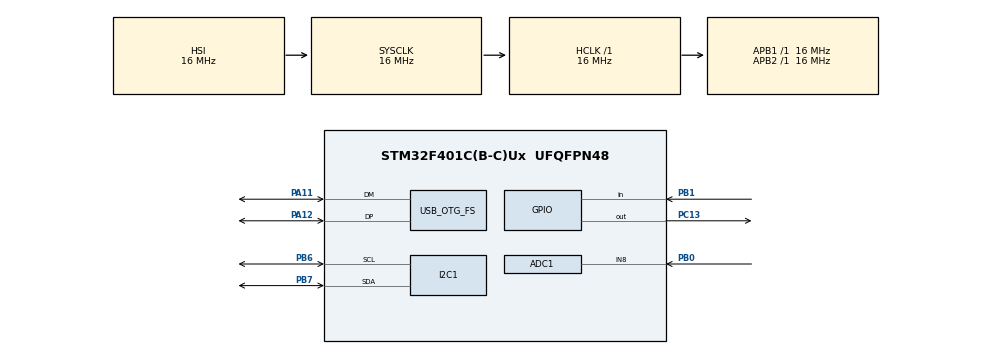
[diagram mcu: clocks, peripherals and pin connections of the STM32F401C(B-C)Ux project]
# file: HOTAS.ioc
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ADC1.Channel-17\#ChannelRegularConversion=ADC_CHANNEL_8
ADC1.NbrOfConversionFlag=1
ADC1.Rank-17\#ChannelRegularConversion=1
ADC1.SamplingTime-17\#ChannelRegularConversion=ADC_SAMPLETIME_3CYCLES
ADC1.master=1
Mcu.Family=STM32F4
Mcu.Name=STM32F401C(B-C)Ux
Mcu.Package=UFQFPN48
NVIC.OTG_FS_IRQn=true\:0\:0\:false\:false\:true\:false\:true\:true
NVIC.PriorityGroup=NVIC_PRIORITYGROUP_4
PA11.Mode=Device_Only
PA11.Signal=USB_OTG_FS_DM
PA12.Mode=Device_Only
PA12.Signal=USB_OTG_FS_DP
PB0.Signal=ADCx_IN8
PB1.GPIO_PuPd=GPIO_PULLUP
PB1.Signal=GPIO_Input
PB6.GPIO_Pu=GPIO_NOPULL
PB6.Mode=I2C
PB6.Signal=I2C1_SCL
PB7.Mode=I2C
PB7.Signal=I2C1_SDA
PC13-ANTI_TAMP.Signal=GPIO_Output
PH0\ -\ OSC_IN.Mode=HSE-External-Oscillator
PH0\ -\ OSC_IN.Signal=RCC_OSC_IN
PH1\ -\ OSC_OUT.Mode=HSE-External-Oscillator
PH1\ -\ OSC_OUT.Signal=RCC_OSC_OUT
ProjectManager.HeapSize=0x200
ProjectManager.StackSize=0x400
ProjectManager.TargetToolchain=STM32CubeIDE
RCC.48MHZClocksFreq_Value=48000000
RCC.AHBFreq_Value=16000000
RCC.APB1Freq_Value=16000000
RCC.APB1TimFreq_Value=16000000
RCC.APB2Freq_Value=16000000
RCC.APB2TimFreq_Value=16000000
RCC.CortexFreq_Value=16000000
RCC.HCLKFreq_Value=16000000
RCC.HSE_VALUE=25000000
RCC.HSI_VALUE=16000000
RCC.LSE_VALUE=32768
RCC.PLLM=15
RCC.PLLN=144
RCC.PLLQ=5
RCC.SYSCLKFreq_VALUE=16000000
RCC.VCOOutputFreq_Value=240000000
SH.ADCx_IN8.0=ADC1_IN8,IN8
USB_DEVICE.CLASS_NAME_FS=CUSTOM_HID
USB_DEVICE.USBD_CUSTOMHID_OUTREPORT_BUF_SIZE=49
USB_DEVICE.USBD_CUSTOM_HID_REPORT_DESC_SIZE=49
USB_DEVICE.VID=2137
USB_DEVICE.VirtualMode=CustomHid
USB_DEVICE.VirtualModeFS=Custom_Hid_FS
USB_OTG_FS.VirtualMode=Device_Only
VP_USB_DEVICE_VS_USB_DEVICE_CUSTOM_HID_FS.Mode=CUSTOM_HID_FS
board=custom

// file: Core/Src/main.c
/* USER CODE BEGIN Header */
/**
  ******************************************************************************
  * @file           : main.c
  * @brief          : Main program body
  ******************************************************************************
  * @attention
  *
  * Copyright (c) 2026 STMicroelectronics.
  * All rights reserved.
  *
  * This software is licensed under terms that can be found in the LICENSE file
  * in the root directory of this software component.
  * If no LICENSE file comes with this software, it is provided AS-IS.
  *
  ******************************************************************************
  */
/* USER CODE END Header */
#include "main.h"
#include "usb_device.h"

/* USER CODE BEGIN Includes */
#include "usbd_customhid.h"
/* USER CODE END Includes */

ADC_HandleTypeDef hadc1;

I2C_HandleTypeDef hi2c1;

void SystemClock_Config(void);
static void MX_GPIO_Init(void);
static void MX_ADC1_Init(void);
static void MX_I2C1_Init(void);
/* USER CODE BEGIN PFP */

long map(long x, long in_min, long in_max, long out_min, long out_max) {
  return (x - in_min) * (out_max - out_min) / (in_max - in_min) + out_min;
}
/* USER CODE END PFP */

/* USER CODE BEGIN 0 */
typedef struct __attribute__((packed)) {
	uint8_t buttons;
    uint16_t dx;
    uint16_t dy;
} joystick_report_t;

joystick_report_t joy_data = {0,0,2047};

extern USBD_HandleTypeDef hUsbDeviceFS;

#define PEDALY_ADR (8 << 1)

#define REC_COUNT 3
uint8_t receive[REC_COUNT] = {0};

/* USER CODE END 0 */

int main(void)
{

  /* MCU Configuration--------------------------------------------------------*/

  /* Reset of all peripherals, Initializes the Flash interface and the Systick. */
  HAL_Init();

  /* Configure the system clock */
  SystemClock_Config();

  /* Initialize all configured peripherals */
  MX_GPIO_Init();
  MX_USB_DEVICE_Init();
  MX_ADC1_Init();
  MX_I2C1_Init();
  /* USER CODE BEGIN 2 */

  HAL_GPIO_WritePin(GPIOC, GPIO_PIN_13, GPIO_PIN_RESET);
  HAL_ADC_Start(&hadc1);
  uint32_t reportSendTime = 0;

  /* USER CODE END 2 */

  /* Infinite loop */
  while (1)
  {

    /* USER CODE BEGIN 3 */
	  if(HAL_GetTick() - reportSendTime > 4) {
		  reportSendTime = HAL_GetTick();
		  USBD_CUSTOM_HID_SendReport(&hUsbDeviceFS, (uint8_t*)&joy_data, sizeof(joy_data));

		  if(HAL_I2C_IsDeviceReady(&hi2c1, PEDALY_ADR, 1, 1) == HAL_OK) {
			  HAL_I2C_Master_Transmit(&hi2c1, PEDALY_ADR, 0, 0, 2);
			  HAL_I2C_Master_Receive(&hi2c1, PEDALY_ADR, receive, REC_COUNT, 2);
			  joy_data.buttons = 2[receive];
		  }

	  }

  }
  /* USER CODE END 3 */
}

void SystemClock_Config(void)
{
  RCC_OscInitTypeDef RCC_OscInitStruct = {0};
  RCC_ClkInitTypeDef RCC_ClkInitStruct = {0};

  /** Configure the main internal regulator output voltage
  */
  __HAL_RCC_PWR_CLK_ENABLE();
  __HAL_PWR_VOLTAGESCALING_CONFIG(PWR_REGULATOR_VOLTAGE_SCALE2);

  /** Initializes the RCC Oscillators according to the specified parameters
  * in the RCC_OscInitTypeDef structure.
  */
  RCC_OscInitStruct.OscillatorType = RCC_OSCILLATORTYPE_HSI|RCC_OSCILLATORTYPE_HSE;
  RCC_OscInitStruct.HSEState = RCC_HSE_ON;
  RCC_OscInitStruct.HSIState = RCC_HSI_ON;
  RCC_OscInitStruct.HSICalibrationValue = RCC_HSICALIBRATION_DEFAULT;
  RCC_OscInitStruct.PLL.PLLState = RCC_PLL_ON;
  RCC_OscInitStruct.PLL.PLLSource = RCC_PLLSOURCE_HSE;
  RCC_OscInitStruct.PLL.PLLM = 15;
  RCC_OscInitStruct.PLL.PLLN = 144;
  RCC_OscInitStruct.PLL.PLLP = RCC_PLLP_DIV2;
  RCC_OscInitStruct.PLL.PLLQ = 5;
  if (HAL_RCC_OscConfig(&RCC_OscInitStruct) != HAL_OK)
  {
    Error_Handler();
  }

  /** Initializes the CPU, AHB and APB buses clocks
  */
  RCC_ClkInitStruct.ClockType = RCC_CLOCKTYPE_HCLK|RCC_CLOCKTYPE_SYSCLK
                              |RCC_CLOCKTYPE_PCLK1|RCC_CLOCKTYPE_PCLK2;
  RCC_ClkInitStruct.SYSCLKSource = RCC_SYSCLKSOURCE_HSI;
  RCC_ClkInitStruct.AHBCLKDivider = RCC_SYSCLK_DIV1;
  RCC_ClkInitStruct.APB1CLKDivider = RCC_HCLK_DIV1;
  RCC_ClkInitStruct.APB2CLKDivider = RCC_HCLK_DIV1;

  if (HAL_RCC_ClockConfig(&RCC_ClkInitStruct, FLASH_LATENCY_0) != HAL_OK)
  {
    Error_Handler();
  }
}

static void MX_ADC1_Init(void)
{

  ADC_ChannelConfTypeDef sConfig = {0};

  /** Configure the global features of the ADC (Clock, Resolution, Data Alignment and number of conversion)
  */
  hadc1.Instance = ADC1;
  hadc1.Init.ClockPrescaler = ADC_CLOCK_SYNC_PCLK_DIV2;
  hadc1.Init.Resolution = ADC_RESOLUTION_12B;
  hadc1.Init.ScanConvMode = DISABLE;
  hadc1.Init.ContinuousConvMode = DISABLE;
  hadc1.Init.DiscontinuousConvMode = DISABLE;
  hadc1.Init.ExternalTrigConvEdge = ADC_EXTERNALTRIGCONVEDGE_NONE;
  hadc1.Init.ExternalTrigConv = ADC_SOFTWARE_START;
  hadc1.Init.DataAlign = ADC_DATAALIGN_RIGHT;
  hadc1.Init.NbrOfConversion = 1;
  hadc1.Init.DMAContinuousRequests = DISABLE;
  hadc1.Init.EOCSelection = ADC_EOC_SINGLE_CONV;
  if (HAL_ADC_Init(&hadc1) != HAL_OK)
  {
    Error_Handler();
  }

  /** Configure for the selected ADC regular channel its corresponding rank in the sequencer and its sample time.
  */
  sConfig.Channel = ADC_CHANNEL_8;
  sConfig.Rank = 1;
  sConfig.SamplingTime = ADC_SAMPLETIME_3CYCLES;
  if (HAL_ADC_ConfigChannel(&hadc1, &sConfig) != HAL_OK)
  {
    Error_Handler();
  }

}

static void MX_I2C1_Init(void)
{

  hi2c1.Instance = I2C1;
  hi2c1.Init.ClockSpeed = 100000;
  hi2c1.Init.DutyCycle = I2C_DUTYCYCLE_2;
  hi2c1.Init.OwnAddress1 = 0;
  hi2c1.Init.AddressingMode = I2C_ADDRESSINGMODE_7BIT;
  hi2c1.Init.DualAddressMode = I2C_DUALADDRESS_DISABLE;
  hi2c1.Init.OwnAddress2 = 0;
  hi2c1.Init.GeneralCallMode = I2C_GENERALCALL_DISABLE;
  hi2c1.Init.NoStretchMode = I2C_NOSTRETCH_DISABLE;
  if (HAL_I2C_Init(&hi2c1) != HAL_OK)
  {
    Error_Handler();
  }

}

static void MX_GPIO_Init(void)
{
  GPIO_InitTypeDef GPIO_InitStruct = {0};

  /* GPIO Ports Clock Enable */
  __HAL_RCC_GPIOC_CLK_ENABLE();
  __HAL_RCC_GPIOH_CLK_ENABLE();
  __HAL_RCC_GPIOB_CLK_ENABLE();
  __HAL_RCC_GPIOA_CLK_ENABLE();

  /*Configure GPIO pin Output Level */
  HAL_GPIO_WritePin(GPIOC, GPIO_PIN_13, GPIO_PIN_RESET);

  /*Configure GPIO pin : PC13 */
  GPIO_InitStruct.Pin = GPIO_PIN_13;
  GPIO_InitStruct.Mode = GPIO_MODE_OUTPUT_PP;
  GPIO_InitStruct.Pull = GPIO_NOPULL;
  GPIO_InitStruct.Speed = GPIO_SPEED_FREQ_LOW;
  HAL_GPIO_Init(GPIOC, &GPIO_InitStruct);

  /*Configure GPIO pin : PB1 */
  GPIO_InitStruct.Pin = GPIO_PIN_1;
  GPIO_InitStruct.Mode = GPIO_MODE_INPUT;
  GPIO_InitStruct.Pull = GPIO_PULLUP;
  HAL_GPIO_Init(GPIOB, &GPIO_InitStruct);

}

void Error_Handler(void)
{
  __disable_irq();
  while (1)
  {
  }
}
